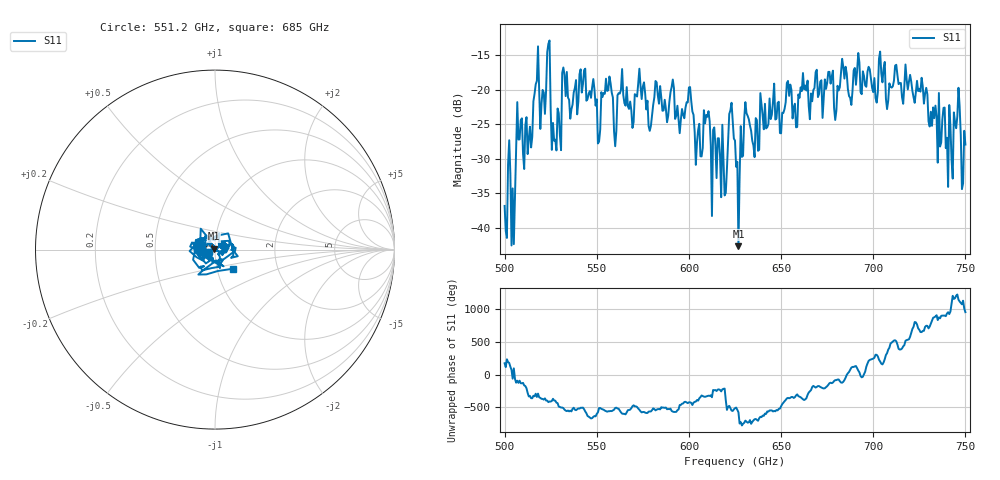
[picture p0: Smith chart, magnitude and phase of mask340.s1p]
!Created with skrf (http://scikit-rf.org).
# GHz S MA R 50.0
!freq magS11 angS11
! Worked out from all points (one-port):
!   401 points, 500 GHz to 750 GHz, reference 50 ohm
!   lowest |S11| = -42.6 dB at 626.9 GHz (marker M1), VSWR 1.01, Z = 49.4 + j0.425 ohm
!   |S11| at or under -10 dB: start of sweep to end of sweep
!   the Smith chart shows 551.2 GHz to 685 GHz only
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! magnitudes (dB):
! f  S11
! 500 GHz  -36.8
! 505 GHz  -42.3
! 508.1 GHz  -27.2
! 513.8 GHz  -25.4
! 516.9 GHz  -19.2
! 520.6 GHz  -20.0
! 523.8 GHz  -13.4
! 526.9 GHz  -27.4
! 531.2 GHz  -17.6
! 542.5 GHz  -19.2
! 550.6 GHz  -27.8
! 562.5 GHz  -20.6
! 593.8 GHz  -22.3
! 609.4 GHz  -23.7
! 618.8 GHz  -30.2
! 622.5 GHz  -23.0
! 625 GHz  -27.4
! 626.9 GHz  -42.6
! 631.2 GHz  -23.4
! 636.9 GHz  -24.4
! 656.2 GHz  -24.2
! 676.9 GHz  -19.1
! 680 GHz  -23.0
! 683.8 GHz  -16.7
! 687.5 GHz  -21.2
! 718.8 GHz  -20.0
! 745.6 GHz  -23.9
! 750 GHz  -27.9
